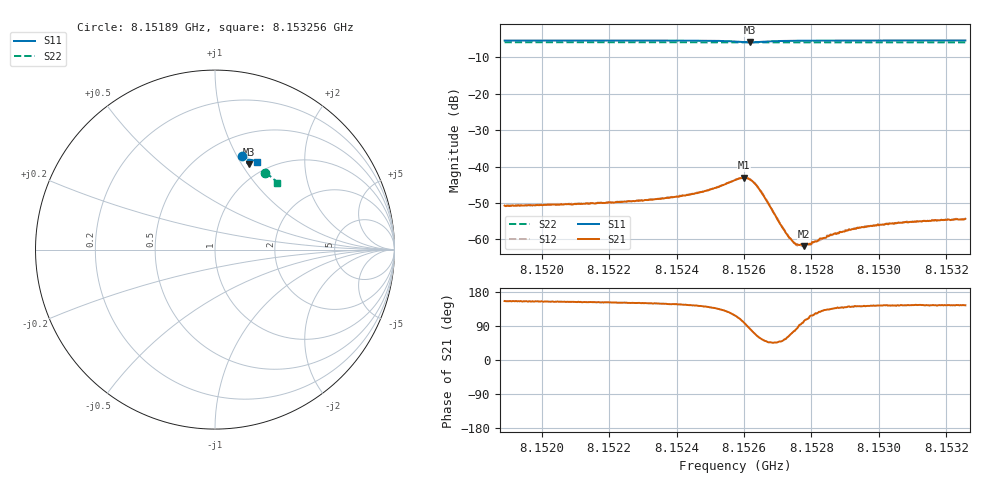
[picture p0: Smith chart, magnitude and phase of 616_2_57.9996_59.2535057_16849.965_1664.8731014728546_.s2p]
#  HZ  S  RI  R  50.00
! Rohde & Schwarz Vector Network Analyzer
! Rohde-Schwarz,ZNB20-2Port,1311601062101988,3.16
! Created: UTC 3/21/2024, 1:17:56 AM
! freq[Hz]  re:S11  im:S11  re:S21  im:S21  re:S12  im:S12  re:S22  im:S22
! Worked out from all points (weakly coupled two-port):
!   401 points, 8.15189 GHz to 8.153256 GHz, reference 50 ohm
!   highest |S21| = -43.09 dB at 8.152601 GHz (marker M1); lowest = -61.9 dB at 8.152778 GHz (marker M2)
!   lowest |S11| = -5.8 dB at 8.152618 GHz (marker M3), VSWR 3.09, Z = 41.6 + j53.6 ohm
!   |S11| at or under -10 dB: nowhere
!   |S22| runs from -5.8 to -5.8 dB; largest |S21 - S12| = 0.00013
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8.1518904e9  0.1502 0.5189  -0.00265 0.0012  -0.00263 0.00125  0.2809 0.4282
8.1521192e9  0.1663 0.5143  -0.00272 0.00142  -0.00276 0.00142  0.2927 0.4198
8.152348e9  0.1836 0.508  -0.00308 0.00187  -0.00308 0.0019  0.3046 0.411
8.1524095e9  0.1888 0.5056  -0.00326 0.00216  -0.00331 0.00223  0.3076 0.4085
8.1524743e9  0.195 0.5016  -0.00355 0.00273  -0.0035 0.00279  0.3109 0.4059
8.1525221e9  0.1998 0.4963  -0.00368 0.00368  -0.00371 0.00375  0.3132 0.4036
8.1525734e9  0.2019 0.4844  -0.003 0.00579  -0.00296 0.00589  0.3155 0.4013
8.1526007e9  0.1951 0.4765  -0.000976 0.00694  -0.000926 0.00698  0.3164 0.4
8.1526177e9  0.1868 0.4758  0.000877 0.00657  0.000933 0.00664  0.3169 0.3996
8.1526314e9  0.1813 0.4795  0.00201 0.00554  0.00212 0.00557  0.3175 0.3993
8.1526485e9  0.1784 0.4865  0.0025 0.00392  0.00262 0.00392  0.3183 0.399
8.1527099e9  0.187 0.4997  0.00102 0.00118  0.00104 0.00117  0.3217 0.3968
8.1527407e9  0.1919 0.501  0.000341 0.000927  0.000378 0.000913  0.3234 0.3954
8.1527543e9  0.1938 0.5011  0.000132 0.000832  0.000148 0.000854  0.324 0.3949
8.1527782e9  0.1968 0.501  -0.000184 0.000783  -0.000154 0.000805  0.3253 0.394
8.1528021e9  0.1995 0.5008  -0.000424 0.000815  -0.000423 0.000789  0.3266 0.3929
8.1528499e9  0.2042 0.4998  -0.000757 0.000797  -0.00076 0.000823  0.3288 0.3911
8.1529012e9  0.2088 0.4986  -0.000993 0.000852  -0.00102 0.000876  0.3312 0.3889
8.1529421e9  0.2119 0.4976  -0.00114 0.000889  -0.00115 0.000892  0.3333 0.387
8.1530309e9  0.2187 0.4953  -0.00134 0.000969  -0.00133 0.000966  0.3374 0.3832
8.1531538e9  0.2273 0.4919  -0.00146 0.00104  -0.00146 0.00106  0.3431 0.3779
8.1532563e9  0.2343 0.4889  -0.00156 0.00112  -0.00152 0.00114  0.3479 0.3734
